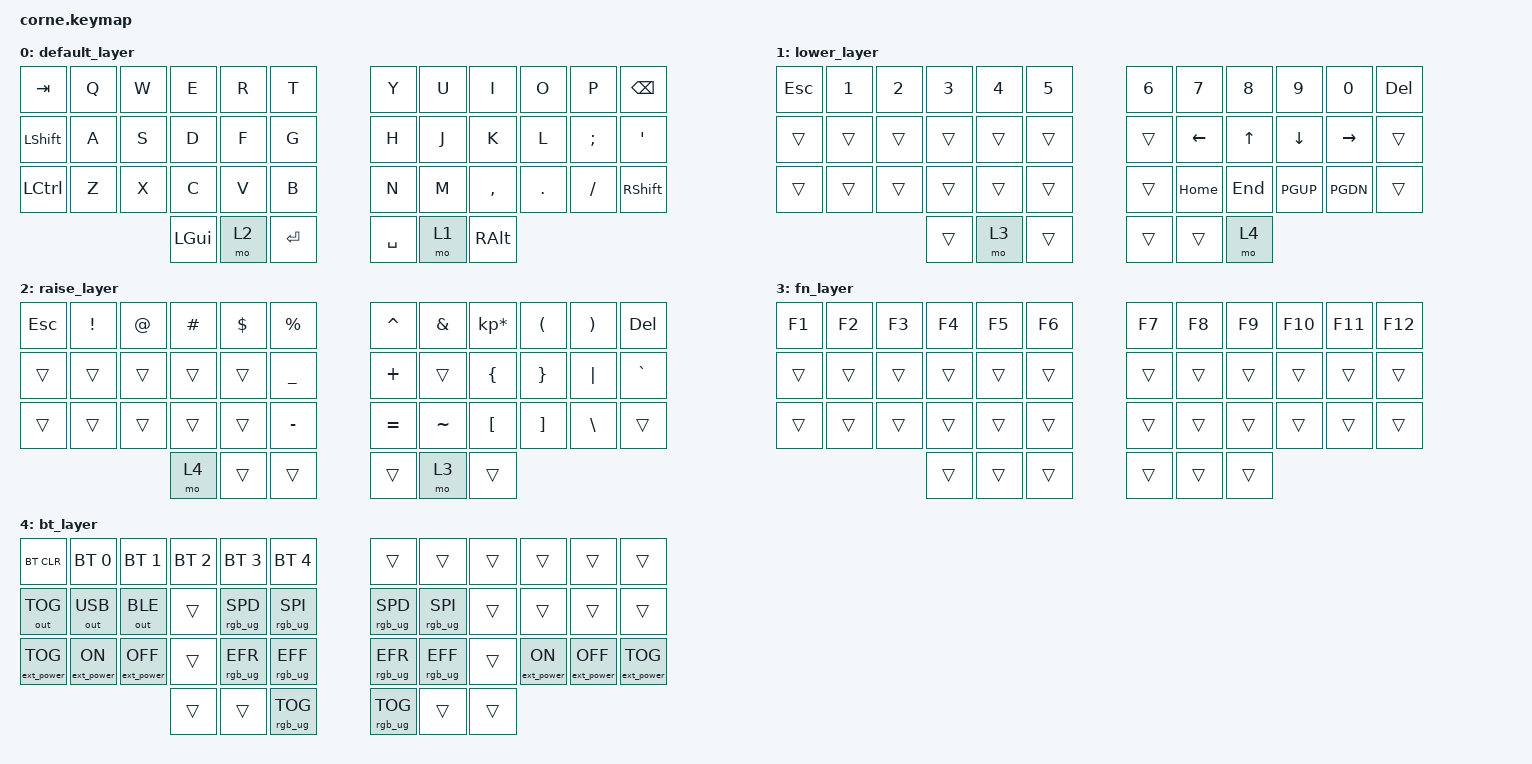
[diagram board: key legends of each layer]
/*
 * Copyright (c) 2020 The ZMK Contributors
 *
 * SPDX-License-Identifier: MIT
 */

#include <behaviors.dtsi>
#include <dt-bindings/zmk/keys.h>
#include <dt-bindings/zmk/bt.h>
#include <dt-bindings/zmk/outputs.h>
#include <dt-bindings/zmk/rgb.h>
#include <dt-bindings/zmk/ext_power.h>

&kscan0 {
    debounce-period = <8>; // trying debounce of 8 ms for kailh speed coppers :(
};

/ {
        keymap {
                compatible = "zmk,keymap";

                default_layer {
// --------------------------------------------------------------------------------
// |  TAB |  Q  |  W  |  E  |  R  |  T  |   |  Y  |  U   |  I  |  O  |  P  | BKSP |
// | CTRL |  A  |  S  |  D  |  F  |  G  |   |  H  |  J   |  K  |  L  |  ;  |  '   |
// | SHFT |  Z  |  X  |  C  |  V  |  B  |   |  N  |  M   |  ,  |  .  |  /  | SHFT |
//                    | GUI | LWR | SPC |   | ENT | RSE  | ALT |
                        bindings = <
   &kp TAB   &kp Q &kp W &kp E     &kp R &kp T      &kp Y     &kp U  &kp I     &kp O   &kp P    &kp BSPC
   &kp LSHFT &kp A &kp S &kp D     &kp F &kp G      &kp H     &kp J  &kp K     &kp L   &kp SEMI &kp SQT
   &kp LCTRL &kp Z &kp X &kp C     &kp V &kp B      &kp N     &kp M  &kp COMMA &kp DOT &kp FSLH &kp RSHFT
                         &kp LGUI  &mo 2 &kp RET    &kp SPACE &mo 1  &kp RALT
                        >;
                };
                lower_layer {
// -------------------------------------------------------------------------------
// |  ESC |  1  |  2  |  3  |  4  |  5  |   |  6  |  7  |  8  |  9  |  0  | BKSP |
// |      |     |     |     |     |  _  |   | LFT |  UP | DWN | RGT |     |      |
// |      |     |     |     |     |  -  |   |     |     |     |     |     |      |
//                    | BT  |     |     |   |     |     |     |
                        bindings = <
   &kp ESC    &kp N1       &kp N2       &kp N3       &kp N4       &kp N5            &kp N6   &kp N7   &kp N8   &kp N9    &kp N0    &kp DEL
   &trans     &trans       &trans       &trans       &trans       &trans            &trans   &kp LEFT &kp UP   &kp DOWN  &kp RIGHT &trans
   &trans     &trans       &trans       &trans       &trans       &trans            &trans   &kp HOME &kp END  &kp PGUP  &kp PGDN  &trans
                                        &trans       &mo 3        &trans            &trans   &trans   &mo 4
                        >;
                };

                raise_layer {
// ------------------------------------------------------------------------------
// |      |  !  |  @  |  #  |  $  |  %  |   |  ^  |  &  |  *  |  (  |  )  | DEL |
// |      |     |     |     |     |     |   |  +  |     |  {  |  }  | "|" |  `  |
// |      |     |     |     |     |     |   |  =  |  ~  |  [  |  ]  |  \  |     | // TODO: Fix this row when &mkp is committed
//                    |     |     |     |   | ENT |     | ALT |
                        bindings = <
   &kp ESC   &kp EXCL  &kp AT  &kp HASH  &kp DLLR  &kp PRCNT   &kp CARET &kp AMPS  &kp KP_MULTIPLY &kp LPAR &kp RPAR &kp DEL
   &trans    &trans    &trans  &trans    &trans    &kp UNDER   &kp PLUS  &trans    &kp LBRC        &kp RBRC &kp PIPE &kp GRAVE
   &trans    &trans    &trans  &trans    &trans    &kp MINUS   &kp EQUAL &kp TILDE &kp LBKT        &kp RBKT &kp BSLH &trans
                               &mo 4     &trans    &trans      &trans    &mo 3     &trans
                        >;
                };

                fn_layer {
// ------------------------------------------------------------------------------
// |  F1  | F2  | F3  | F4  | F5  | F6  |   | F7  | F8  | F9  | F10 | F11 | F12 |
// |      |     |     |     |     |     |   |     |     |     |     |     |     |
// |      |     |     |     |     |     |   |     |     |     |     |     |     |
//                    |     |     |     |   |     |     |     |
                        bindings = <
   &kp F1    &kp F2    &kp F3  &kp F4    &kp F5    &kp F6      &kp F7    &kp F8    &kp F9  &kp F10  &kp F11  &kp F12  
   &trans    &trans    &trans  &trans    &trans    &trans      &trans    &trans    &trans  &trans   &trans   &trans  
   &trans    &trans    &trans  &trans    &trans    &trans      &trans    &trans    &trans  &trans   &trans   &trans
                               &trans    &trans    &trans      &trans    &trans    &trans
                        >;
                };                

                bt_layer {
// ------------------------------------------------------------------------------
// | BTCLR| BT1 | BT2 | BT3 | BT4 | BT5 |   |     |     |     |     |     |     |
// |      |     |     |     |     |     |   |     |     |     |     |     |     |
// |      |     |     |     |     |     |   |     |     |     |     |     |     |
//                    |     |     |     |   |     |     |     |
                        bindings = <
   &bt BT_CLR        &bt BT_SEL 0       &bt BT_SEL 1       &bt BT_SEL 2  &bt BT_SEL 3    &bt BT_SEL 4       &trans          &trans           &trans  &trans           &trans             &trans
   &out OUT_TOG      &out OUT_USB       &out OUT_BLE       &trans        &rgb_ug RGB_SPD &rgb_ug RGB_SPI    &rgb_ug RGB_SPD &rgb_ug RGB_SPI  &trans  &trans           &trans             &trans
   &ext_power EP_TOG &ext_power EP_ON   &ext_power EP_OFF  &trans        &rgb_ug RGB_EFR &rgb_ug RGB_EFF    &rgb_ug RGB_EFR &rgb_ug RGB_EFF  &trans  &ext_power EP_ON &ext_power EP_OFF  &ext_power EP_TOG
                                                           &trans        &trans          &rgb_ug RGB_TOG    &rgb_ug RGB_TOG &trans           &trans
                        >;
                };
        };
};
